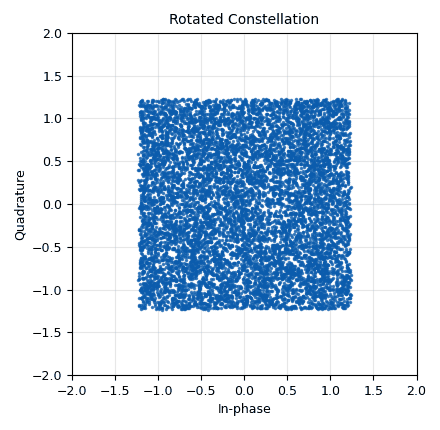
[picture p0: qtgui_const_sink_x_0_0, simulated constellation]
options:
  parameters:
    generate_options: qt_gui
    id: mer_probe_ai
    output_language: python
    title: Not titled yet
  states: {}

blocks:
- name: ai
  id: variable_qtgui_range
  parameters:
    gui_hint: 0,2,1,1
    label: ai
    start: '0'
    step: '.001'
    stop: '5'
    value: '0'
  states: {}
- name: const_256QAM
  id: variable
  parameters:
    value: '[(1.1504475+1.1504475j),(1.1504475+0.9970545j),(0.9970545+1.1504475j),(0.9970545+0.9970545j),(1.1504475+0.6902685j),(1.1504475+0.8436615j),(0.9970545+0.6902685j),(0.9970545+0.8436615j),(0.6902685+1.1504475j),(0.6902685+0.9970545j),(0.8436615+1.1504475j),(0.8436615+0.9970545j),(0.6902685+0.6902685j),(0.6902685+0.8436615j),(0.8436615+0.6902685j),(0.8436615+0.8436615j),(1.1504475+0.0766965j),(1.1504475+0.2300895j),(0.9970545+0.0766965j),(0.9970545+0.2300895j),(1.1504475+0.5368755j),(1.1504475+0.38348252j),(0.9970545+0.5368755j),(0.9970545+0.38348252j),(0.6902685+0.0766965j),(0.6902685+0.2300895j),(0.8436615+0.0766965j),(0.8436615+0.2300895j),(0.6902685+0.5368755j),(0.6902685+0.38348252j),(0.8436615+0.5368755j),(0.8436615+0.38348252j),(0.0766965+1.1504475j),(0.0766965+0.9970545j),(0.2300895+1.1504475j),(0.2300895+0.9970545j),(0.0766965+0.6902685j),(0.0766965+0.8436615j),(0.2300895+0.6902685j),(0.2300895+0.8436615j),(0.5368755+1.1504475j),(0.5368755+0.9970545j),(0.38348252+1.1504475j),(0.38348252+0.9970545j),(0.5368755+0.6902685j),(0.5368755+0.8436615j),(0.38348252+0.6902685j),(0.38348252+0.8436615j),(0.0766965+0.0766965j),(0.0766965+0.2300895j),(0.2300895+0.0766965j),(0.2300895+0.2300895j),(0.0766965+0.5368755j),(0.0766965+0.38348252j),(0.2300895+0.5368755j),(0.2300895+0.38348252j),(0.5368755+0.0766965j),(0.5368755+0.2300895j),(0.38348252+0.0766965j),(0.38348252+0.2300895j),(0.5368755+0.5368755j),(0.5368755+0.38348252j),(0.38348252+0.5368755j),(0.38348252+0.38348252j),(1.1504475-1.1504475j),(1.1504475-0.9970545j),(0.9970545-1.1504475j),(0.9970545-0.9970545j),(1.1504475-0.6902685j),(1.1504475-0.8436615j),(0.9970545-0.6902685j),(0.9970545-0.8436615j),(0.6902685-1.1504475j),(0.6902685-0.9970545j),(0.8436615-1.1504475j),(0.8436615-0.9970545j),(0.6902685-0.6902685j),(0.6902685-0.8436615j),(0.8436615-0.6902685j),(0.8436615-0.8436615j),(1.1504475-0.0766965j),(1.1504475-0.2300895j),(0.9970545-0.0766965j),(0.9970545-0.2300895j),(1.1504475-0.5368755j),(1.1504475-0.38348252j),(0.9970545-0.5368755j),(0.9970545-0.38348252j),(0.6902685-0.0766965j),(0.6902685-0.2300895j),(0.8436615-0.0766965j),(0.8436615-0.2300895j),(0.6902685-0.5368755j),(0.6902685-0.38348252j),(0.8436615-0.5368755j),(0.8436615-0.38348252j),(0.0766965-1.1504475j),(0.0766965-0.9970545j),(0.2300895-1.1504475j),(0.2300895-0.9970545j),(0.0766965-0.6902685j),(0.0766965-0.8436615j),(0.2300895-0.6902685j),(0.2300895-0.8436615j),(0.5368755-1.1504475j),(0.5368755-0.9970545j),(0.38348252-1.1504475j),(0.38348252-0.9970545j),(0.5368755-0.6902685j),(0.5368755-0.8436615j),(0.38348252-0.6902685j),(0.38348252-0.8436615j),(0.0766965-0.0766965j),(0.0766965-0.2300895j),(0.2300895-0.0766965j),(0.2300895-0.2300895j),(0.0766965-0.5368755j),(0.0766965-0.38348252j),(0.2300895-0.5368755j),(0.2300895-0.38348252j),(0.5368755-0.0766965j),(0.5368755-0.2300895j),(0.38348252-0.0766965j),(0.38348252-0.2300895j),(0.5368755-0.5368755j),(0.5368755-0.38348252j),(0.38348252-0.5368755j),(0.38348252-0.38348252j),(-1.1504475+1.1504475j),(-1.1504475+0.9970545j),(-0.9970545+1.1504475j),(-0.9970545+0.9970545j),(-1.1504475+0.6902685j),(-1.1504475+0.8436615j),(-0.9970545+0.6902685j),(-0.9970545+0.8436615j),(-0.6902685+1.1504475j),(-0.6902685+0.9970545j),(-0.8436615+1.1504475j),(-0.8436615+0.9970545j),(-0.6902685+0.6902685j),(-0.6902685+0.8436615j),(-0.8436615+0.6902685j),(-0.8436615+0.8436615j),(-1.1504475+0.0766965j),(-1.1504475+0.2300895j),(-0.9970545+0.0766965j),(-0.9970545+0.2300895j),(-1.1504475+0.5368755j),(-1.1504475+0.38348252j),(-0.9970545+0.5368755j),(-0.9970545+0.38348252j),(-0.6902685+0.0766965j),(-0.6902685+0.2300895j),(-0.8436615+0.0766965j),(-0.8436615+0.2300895j),(-0.6902685+0.5368755j),(-0.6902685+0.38348252j),(-0.8436615+0.5368755j),(-0.8436615+0.38348252j),(-0.0766965+1.1504475j),(-0.0766965+0.9970545j),(-0.2300895+1.1504475j),(-0.2300895+0.9970545j),(-0.0766965+0.6902685j),(-0.0766965+0.8436615j),(-0.2300895+0.6902685j),(-0.2300895+0.8436615j),(-0.5368755+1.1504475j),(-0.5368755+0.9970545j),(-0.38348252+1.1504475j),(-0.38348252+0.9970545j),(-0.5368755+0.6902685j),(-0.5368755+0.8436615j),(-0.38348252+0.6902685j),(-0.38348252+0.8436615j),(-0.0766965+0.0766965j),(-0.0766965+0.2300895j),(-0.2300895+0.0766965j),(-0.2300895+0.2300895j),(-0.0766965+0.5368755j),(-0.0766965+0.38348252j),(-0.2300895+0.5368755j),(-0.2300895+0.38348252j),(-0.5368755+0.0766965j),(-0.5368755+0.2300895j),(-0.38348252+0.0766965j),(-0.38348252+0.2300895j),(-0.5368755+0.5368755j),(-0.5368755+0.38348252j),(-0.38348252+0.5368755j),(-0.38348252+0.38348252j),(-1.1504475-1.1504475j),(-1.1504475-0.9970545j),(-0.9970545-1.1504475j),(-0.9970545-0.9970545j),(-1.1504475-0.6902685j),(-1.1504475-0.8436615j),(-0.9970545-0.6902685j),(-0.9970545-0.8436615j),(-0.6902685-1.1504475j),(-0.6902685-0.9970545j),(-0.8436615-1.1504475j),(-0.8436615-0.9970545j),(-0.6902685-0.6902685j),(-0.6902685-0.8436615j),(-0.8436615-0.6902685j),(-0.8436615-0.8436615j),(-1.1504475-0.0766965j),(-1.1504475-0.2300895j),(-0.9970545-0.0766965j),(-0.9970545-0.2300895j),(-1.1504475-0.5368755j),(-1.1504475-0.38348252j),(-0.9970545-0.5368755j),(-0.9970545-0.38348252j),(-0.6902685-0.0766965j),(-0.6902685-0.2300895j),(-0.8436615-0.0766965j),(-0.8436615-0.2300895j),(-0.6902685-0.5368755j),(-0.6902685-0.38348252j),(-0.8436615-0.5368755j),(-0.8436615-0.38348252j),(-0.0766965-1.1504475j),(-0.0766965-0.9970545j),(-0.2300895-1.1504475j),(-0.2300895-0.9970545j),(-0.0766965-0.6902685j),(-0.0766965-0.8436615j),(-0.2300895-0.6902685j),(-0.2300895-0.8436615j),(-0.5368755-1.1504475j),(-0.5368755-0.9970545j),(-0.38348252-1.1504475j),(-0.38348252-0.9970545j),(-0.5368755-0.6902685j),(-0.5368755-0.8436615j),(-0.38348252-0.6902685j),(-0.38348252-0.8436615j),(-0.0766965-0.0766965j),(-0.0766965-0.2300895j),(-0.2300895-0.0766965j),(-0.2300895-0.2300895j),(-0.0766965-0.5368755j),(-0.0766965-0.38348252j),(-0.2300895-0.5368755j),(-0.2300895-0.38348252j),(-0.5368755-0.0766965j),(-0.5368755-0.2300895j),(-0.38348252-0.0766965j),(-0.38348252-0.2300895j),(-0.5368755-0.5368755j),(-0.5368755-0.38348252j),(-0.38348252-0.5368755j),(-0.38348252-0.38348252j)]'
  states: {}
- name: cs
  id: variable_qtgui_range
  parameters:
    gui_hint: 0,1,1,1
    label: cs
    start: '0'
    step: '.001'
    stop: '.5'
    value: '0'
  states: {}
- name: noise
  id: variable_qtgui_range
  parameters:
    gui_hint: 0,4,1,1
    label: noise
    start: '0'
    step: '.001'
    stop: '100e-3'
    value: '10e-3'
  states: {}
- name: pj
  id: variable_qtgui_range
  parameters:
    gui_hint: 0,0,1,1
    label: pj
    start: '-40'
    step: '.001'
    stop: '0'
    value: '-40'
  states: {}
- name: qe
  id: variable_qtgui_range
  parameters:
    gui_hint: 0,3,1,1
    label: qe
    start: '0'
    step: '.001'
    stop: '5'
    value: '0'
  states: {}
- name: samp_rate
  id: variable
  parameters:
    value: '32000'
  states: {}
- name: analog_random_source_x_0
  id: analog_random_source_x
  parameters:
    max: '256'
    min: '0'
    num_samps: '100000'
    repeat: 'True'
    type: byte
  states: {}
- name: channels_channel_model_0
  id: channels_channel_model
  parameters:
    epsilon: '1.0'
    freq_offset: '0.0'
    noise_voltage: noise
    seed: '0'
    taps: '1.0'
  states: {}
- name: channels_impairments_0
  id: channels_impairments
  parameters:
    freq_offset: '0'
    gamma: '0'
    i_ofs: '0'
    magbal: ai
    phase_noise_mag: pj
    phasebal: qe
    q_ofs: cs
  states: {}
- name: dtv_dvbt2_modulator_bc_0
  id: dtv_dvbt2_modulator_bc
  parameters:
    constellation: MOD_256QAM
    framesize: FECFRAME_NORMAL
    rotation: ROTATION_ON
  states: {}
- name: mer_probe_all_meassurements_cf_0
  id: mer_probe_all_meassurements_cf
  parameters:
    alpha: '0.005'
    symbol_table: const_256QAM
  states: {}
- name: mer_qam_desrotator_cf_0
  id: mer_qam_desrotator_cf
  parameters:
    cell_size: '8100'
    mod_index: '256'
  states: {}
- name: qtgui_0
  id: qtgui_tab_widget
  parameters:
    gui_hint: 1,0,6,5
    label0: Constellation
    label1: Measures
    label2: FFT
    num_tabs: '3'
  states: {}
- name: qtgui_const_sink_x_0
  id: qtgui_const_sink_x
  parameters:
    gui_hint: 'qtgui_0@0 : 0,0,1,1'
    size: 1024*10
    type: complex
  states: {}
- name: qtgui_const_sink_x_0_0
  id: qtgui_const_sink_x
  parameters:
    name: '"Rotated Constellation"'
    size: 1024*10
    type: complex
  states: {}
- name: qtgui_freq_sink_x_0
  id: qtgui_freq_sink_x
  parameters:
    bw: samp_rate
    fc: '0'
    fftsize: '2048'
    gui_hint: 'qtgui_0@2: 0,0,1,1'
    type: complex
  states: {}
- name: qtgui_number_sink_0
  id: qtgui_number_sink
  parameters:
    color1: ("blue", "red")
    graph_type: qtgui.NUM_GRAPH_HORIZ
    gui_hint: 'qtgui_0@1:  0,0,1,1'
    label1: '" "'
    max: '100'
    min: '0'
    name: '"MER"'
    type: float
    unit1: dB
  states: {}
- name: qtgui_number_sink_0_0
  id: qtgui_number_sink
  parameters:
    color1: ("blue", "red")
    graph_type: qtgui.NUM_GRAPH_HORIZ
    gui_hint: 'qtgui_0@1:  0,1,1,1'
    label1: '" "'
    min: '0'
    name: '"STE"'
    type: float
    unit1: V
  states: {}
- name: qtgui_number_sink_0_0_0
  id: qtgui_number_sink
  parameters:
    color1: ("blue", "red")
    graph_type: qtgui.NUM_GRAPH_HORIZ
    gui_hint: 'qtgui_0@1:  2,1,1,1'
    label1: '" "'
    max: '10'
    min: '-10'
    name: '"Quadrature Vertical Angle Error "'
    type: float
    unit1: degrees
  states: {}
- name: qtgui_number_sink_0_0_1
  id: qtgui_number_sink
  parameters:
    color1: ("blue", "red")
    graph_type: qtgui.NUM_GRAPH_HORIZ
    gui_hint: 'qtgui_0@1:  0,2,1,1'
    label1: '" "'
    max: '100'
    min: '0'
    name: '"SNR"'
    type: float
    unit1: dB
  states: {}
- name: qtgui_number_sink_0_1
  id: qtgui_number_sink
  parameters:
    color1: ("blue", "red")
    graph_type: qtgui.NUM_GRAPH_HORIZ
    gui_hint: 'qtgui_0@1:  1,0,1,1'
    label1: '" "'
    min: '0'
    name: '"Carrier Suppression"'
    type: float
    unit1: Power Normalized to Tx Power
  states: {}
- name: qtgui_number_sink_0_2
  id: qtgui_number_sink
  parameters:
    color1: ("blue", "red")
    graph_type: qtgui.NUM_GRAPH_HORIZ
    gui_hint: 'qtgui_0@1:  1,1,1,1'
    label1: '" "'
    min: '0'
    name: '"Amplitude Imbalance Horizontal"'
    type: float
    unit1: V
  states: {}
- name: qtgui_number_sink_0_3
  id: qtgui_number_sink
  parameters:
    color1: ("blue", "red")
    graph_type: qtgui.NUM_GRAPH_HORIZ
    gui_hint: 'qtgui_0@1:  2,0,1,1'
    label1: '" "'
    max: '10'
    min: '-10'
    name: '"Quadrature Horizontal Angle Error "'
    type: float
    unit1: degrees
  states: {}
- name: qtgui_number_sink_0_4
  id: qtgui_number_sink
  parameters:
    color1: ("blue", "red")
    graph_type: qtgui.NUM_GRAPH_HORIZ
    gui_hint: 'qtgui_0@1:  2,2,1,1'
    label1: '" "'
    max: '.1'
    min: '-.1'
    name: '"Phase Jitter Variance"'
    type: float
  states: {}
- name: qtgui_number_sink_1
  id: qtgui_number_sink
  parameters:
    color1: ("blue", "red")
    graph_type: qtgui.NUM_GRAPH_HORIZ
    gui_hint: 'qtgui_0@1:  1,2,1,1'
    label1: '" "'
    min: '0'
    name: '"Amplitude Imbalance Vertical"'
    type: float
    unit1: V
  states: {}

connections:
- [analog_random_source_x_0, '0', dtv_dvbt2_modulator_bc_0, '0']
- [channels_channel_model_0, '0', mer_qam_desrotator_cf_0, '0']
- [channels_channel_model_0, '0', qtgui_const_sink_x_0_0, '0']
- [channels_impairments_0, '0', channels_channel_model_0, '0']
- [dtv_dvbt2_modulator_bc_0, '0', channels_impairments_0, '0']
- [mer_probe_all_meassurements_cf_0, '0', qtgui_number_sink_0, '0']
- [mer_probe_all_meassurements_cf_0, '1', qtgui_number_sink_0_0, '0']
- [mer_probe_all_meassurements_cf_0, '2', qtgui_number_sink_0_1, '0']
- [mer_probe_all_meassurements_cf_0, '3', qtgui_number_sink_0_2, '0']
- [mer_probe_all_meassurements_cf_0, '4', qtgui_number_sink_1, '0']
- [mer_probe_all_meassurements_cf_0, '5', qtgui_number_sink_0_3, '0']
- [mer_probe_all_meassurements_cf_0, '6', qtgui_number_sink_0_0_0, '0']
- [mer_probe_all_meassurements_cf_0, '7', qtgui_number_sink_0_4, '0']
- [mer_probe_all_meassurements_cf_0, '8', qtgui_number_sink_0_0_1, '0']
- [mer_qam_desrotator_cf_0, '0', mer_probe_all_meassurements_cf_0, '0']
- [mer_qam_desrotator_cf_0, '0', qtgui_const_sink_x_0, '0']
- [mer_qam_desrotator_cf_0, '0', qtgui_freq_sink_x_0, '0']

metadata:
  file_format: 1
  grc_version: 3.9.8.0
